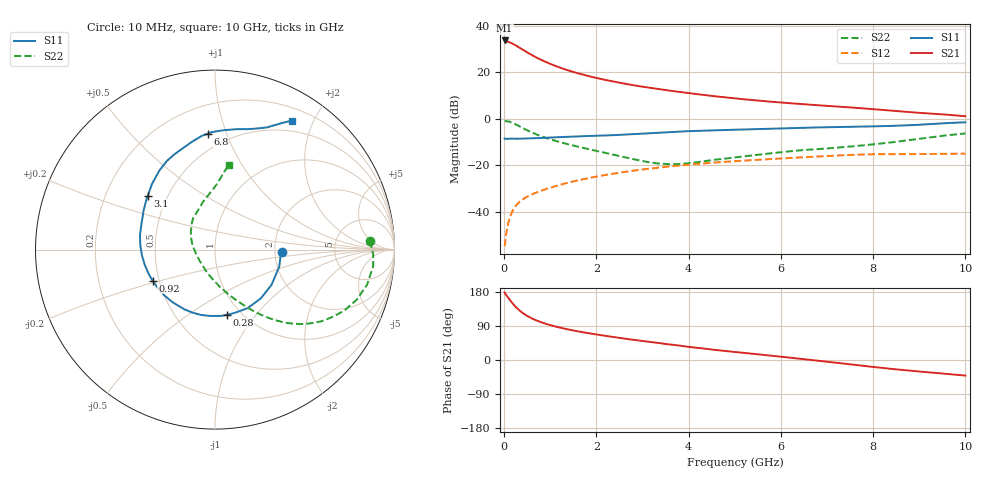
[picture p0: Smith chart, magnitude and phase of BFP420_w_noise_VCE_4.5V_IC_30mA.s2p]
! Infineon Technologies  Discrete & RF Semiconductors
! BFP420
! VCE =  4.5 V,  IC =  30 mA
! Common Emitter S-Parameters:  Jan 2016
# GHz  S  MA  R  50
!  f  S11  S21  S12  S22
! GHz  MAG  ANG  MAG  ANG  MAG  ANG  MAG  ANG
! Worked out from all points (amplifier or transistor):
!   233 points, 10 MHz to 10 GHz, reference 50 ohm
!   highest |S21| = 33.7 dB at 10 MHz (marker M1)
!   |S21| within 3 dB of that: start of sweep to 324.6 MHz
!   unconditionally stable (mu >= 1): start of sweep to 33.74 MHz; 1.57 GHz to end of sweep
!   at 200 MHz: K = 0.44, MSG = 35.6 dB, |S12| = -39.1 dB
!   at 1.74 GHz: K = 1.03, MAG = 21.3 dB, |S12| = -26.0 dB
!   at 10 GHz: K = 1.06, MAG = 6.5 dB, |S12| = -15.1 dB
!   lowest NFmin = 1.51 dB at 900 MHz
!   S11 on the Smith chart (normalised r, x): 10 MHz: 2.18, -0.06; 280 MHz: 0.86, -0.72; 920 MHz: 0.46, -0.19; 3.1 GHz: 0.39, +0.30; 6.8 GHz: 0.39, +0.86; 10 GHz: 0.36, +1.70
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0.01  0.3724 -1.8  48.17 178.4  0.0018 41.5  0.8629 3.2
0.02  0.3673 -5.4  46.8 175.6  0.0021 40.4  0.8814 -1.4
0.09  0.3684 -28.6  44.99 163.7  0.0057 64.1  0.8721 -11.6
0.15  0.3728 -46.9  42.77 154.0  0.0087 65.4  0.838 -19.4
0.2  0.3734 -60.8  40.42 146.8  0.0111 64.9  0.798 -25.0
0.24  0.3692 -70.7  38.25 141.4  0.0128 63.6  0.7632 -28.9
0.28  0.3688 -79.9  36.26 136.6  0.0143 62.4  0.7281 -32.5
0.36  0.3707 -95.8  32.43 128.1  0.017 60.4  0.6612 -38.6
0.45  0.3729 -110.2  28.55 120.0  0.0196 59.0  0.594 -43.9
0.5  0.374 -117.1  26.64 116.3  0.0209 58.5  0.5609 -46.4
0.6  0.3766 -128.6  23.35 109.7  0.0234 57.9  0.5044 -50.5
0.74  0.3809 -141.2  19.75 102.5  0.0266 57.8  0.4423 -54.9
0.92  0.3884 -153.6  16.3 94.8  0.0308 57.8  0.3817 -59.7
1.2  0.4006 -167.8  12.64 85.6  0.0373 57.7  0.3139 -66.3
1.68  0.4182 175.1  9.014 73.9  0.0488 56.3  0.2388 -76.7
2.2  0.434 161.0  6.788 63.6  0.0615 53.2  0.1826 -89.0
3.1  0.4797 141.4  4.707 48.7  0.0827 45.8  0.1171 -122.5
3.4  0.4995 135.6  4.252 44.1  0.0894 43.1  0.107 -138.8
5.1  0.5798 111.9  2.666 20.0  0.1235 27.3  0.1502 152.3
6.8  0.6472 93.6  1.944 -1.8  0.1534 11.6  0.2212 120.2
8.4  0.6975 74.3  1.484 -23.5  0.1721 -6.2  0.3089 96.2
10  0.8355 59.3  1.127 -41.1  0.1766 -18.7  0.4801 80.5
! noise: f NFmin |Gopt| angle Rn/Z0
0.9  1.51  0.26  -155  0.13
1.8  1.78  0.33  -142  0.14
2.4  1.96  0.3  -136  0.18
3  1.98  0.38  -127  0.2
4  2.11  0.47  -111  0.31
5  2.57  0.53  -94  0.51
6  3  0.57  -82  0.74
